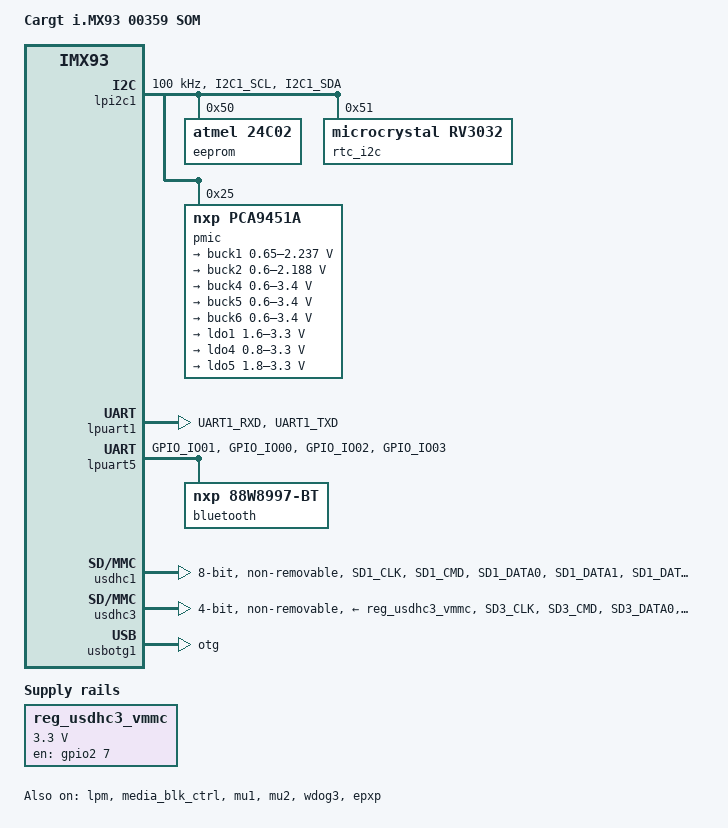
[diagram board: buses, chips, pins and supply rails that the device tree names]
// SPDX-License-Identifier: (GPL-2.0+ OR MIT)
/*
 * Copyright 2022 NXP
 */

 /dts-v1/;

#include <dt-bindings/usb/pd.h>
#include "imx93.dtsi"
 
&ele_fw2 {
	memory-region = <&ele_reserved>;
};

/ {
	model = "Cargt i.MX93 00359 SOM";
	compatible = "cargt,imx93-00359", "fsl,imx93";

	chosen {
		stdout-path = &lpuart1;
	};

	aliases {
		rtc0 = &rtc_i2c;
		rtc1 = &bbnsm_rtc;
	};

	reserved-memory {
		#address-cells = <2>;
		#size-cells = <2>;
		ranges;

		linux,cma {
			compatible = "shared-dma-pool";
			reusable;
			alloc-ranges = <0 0xb0000000 0 0x30000000>;
			size = <0 0xc000000>;
			linux,cma-default;
		};

		vdev0vring0: vdev0vring0@a4000000 {
			reg = <0 0xa4000000 0 0x8000>;
			no-map;
		};

		vdev0vring1: vdev0vring1@a4008000 {
			reg = <0 0xa4008000 0 0x8000>;
			no-map;
		};

		vdev1vring0: vdev1vring0@a4000000 {
			reg = <0 0xa4010000 0 0x8000>;
			no-map;
		};

		vdev1vring1: vdev1vring1@a4018000 {
			reg = <0 0xa4018000 0 0x8000>;
			no-map;
		};

		rsc_table: rsc-table@2021e000 {
			reg = <0 0x2021e000 0 0x1000>;
			no-map;
		};

		vdevbuffer: vdevbuffer@a4020000 {
			compatible = "shared-dma-pool";
			reg = <0 0xa4020000 0 0x100000>;
			no-map;
		};

		ele_reserved: ele-reserved@a4120000 {
			compatible = "shared-dma-pool";
			reg = <0 0xa4120000 0 0x100000>;
			no-map;
		};
	};

	reg_usdhc3_vmmc: regulator-usdhc3 {
		compatible = "regulator-fixed";
		pinctrl-names = "default";
		pinctrl-0 = <&pinctrl_reg_usdhc3_vmmc>;
		regulator-name = "WLAN_EN";
		regulator-min-microvolt = <3300000>;
		regulator-max-microvolt = <3300000>;
		gpio = <&gpio2 7 GPIO_ACTIVE_HIGH>;
		/*
		* IW612 wifi chip needs more delay than other wifi chips to complete
		* the host interface initialization after power up, otherwise the
		* internal state of IW612 may be unstable, resulting in the failure of
		* the SDIO3.0 switch voltage.
		*/
		startup-delay-us = <20000>;
		enable-active-high;
	};
};

&lpm {
	soc-supply = <&buck1>;
	status = "okay";
};

&lpi2c1 {
	#address-cells = <1>;
	#size-cells = <0>;
	clock-frequency = <100000>;
	pinctrl-names = "default", "sleep";
	pinctrl-0 = <&pinctrl_lpi2c1>;
	pinctrl-1 = <&pinctrl_lpi2c1>;
	status = "okay";

	/* eeprom on som */
	eeprom@50 {
		compatible = "atmel,24c02";
		reg = <0x50>;
		pagesize = <16>;		
	};

	/* rtc on som */
	rtc_i2c: rtc@51 {
		compatible = "microcrystal,rv3032";
		reg = <0x51>;
		trickle-resistor-ohms = <2000>;
		status = "okay";
	};

	pmic: pmic@25 {
		compatible = "nxp,pca9451a";
		reg = <0x25>;

		regulators {
			buck1: BUCK1 {
				regulator-name = "BUCK1";
				regulator-min-microvolt = <650000>;
				regulator-max-microvolt = <2237500>;
				regulator-boot-on;
				regulator-always-on;
				regulator-ramp-delay = <3125>;
			};

			buck2: BUCK2 {
				regulator-name = "BUCK2";
				regulator-min-microvolt = <600000>;
				regulator-max-microvolt = <2187500>;
				regulator-boot-on;
				regulator-always-on;
				regulator-ramp-delay = <3125>;
			};

			buck4: BUCK4{
				regulator-name = "BUCK4";
				regulator-min-microvolt = <600000>;
				regulator-max-microvolt = <3400000>;
				regulator-boot-on;
				regulator-always-on;
			};

			buck5: BUCK5{
				regulator-name = "BUCK5";
				regulator-min-microvolt = <600000>;
				regulator-max-microvolt = <3400000>;
				regulator-boot-on;
				regulator-always-on;
			};

			buck6: BUCK6 {
				regulator-name = "BUCK6";
				regulator-min-microvolt = <600000>;
				regulator-max-microvolt = <3400000>;
				regulator-boot-on;
				regulator-always-on;
			};

			ldo1: LDO1 {
				regulator-name = "LDO1";
				regulator-min-microvolt = <1600000>;
				regulator-max-microvolt = <3300000>;
				regulator-boot-on;
				regulator-always-on;
			};

			ldo4: LDO4 {
				regulator-name = "LDO4";
				regulator-min-microvolt = <800000>;
				regulator-max-microvolt = <3300000>;
				regulator-boot-on;
				regulator-always-on;
			};

			ldo5: LDO5 {
				regulator-name = "LDO5";
				regulator-min-microvolt = <1800000>;
				regulator-max-microvolt = <3300000>;
				regulator-boot-on;
				regulator-always-on;
			};
		};
	};
};


&lpuart1 { /* console */
	pinctrl-names = "default";
	pinctrl-0 = <&pinctrl_uart1>;
	status = "okay";
};

&lpuart5 { /* bluetooth */
	pinctrl-names = "default";
	pinctrl-0 = <&pinctrl_uart5>;
	uart-has-rtscts;
	status = "okay";

	bluetooth {
			compatible = "nxp,88w8997-bt";
		};
};

&media_blk_ctrl {
	status = "okay";
};

&mu1 {
	status = "okay";
};

&mu2 {
	status = "okay";
};
 
&usdhc1 {
	pinctrl-names = "default", "state_100mhz", "state_200mhz";
	pinctrl-0 = <&pinctrl_usdhc1>;
	pinctrl-1 = <&pinctrl_usdhc1>;
	pinctrl-2 = <&pinctrl_usdhc1>;
	bus-width = <8>;
	non-removable;
	status = "okay";
};

&usdhc3 {
	pinctrl-names = "default", "state_100mhz", "state_200mhz", "sleep";
	pinctrl-0 = <&pinctrl_usdhc3>;
	pinctrl-1 = <&pinctrl_usdhc3_100mhz>;
	pinctrl-2 = <&pinctrl_usdhc3_200mhz>;
	pinctrl-3 = <&pinctrl_usdhc3_sleep>;
	vmmc-supply = <&reg_usdhc3_vmmc>;
	bus-width = <4>;
	keep-power-in-suspend;
	non-removable;
	wakeup-source;
	status = "okay";
};

&usbotg1 {
	dr_mode = "otg";
	disable-over-current;
	samsung,picophy-pre-emp-curr-control = <3>;
	samsung,picophy-dc-vol-level-adjust = <7>;
	status = "okay";
};

&wdog3 {
	status = "okay";
};

&gpio1{
	gpio-line-names =
	"gpio1-0","gpio1-1","gpio1-2","gpio1-3", 		// 0-3
	"gpio1-4","gpio1-5","gpio1-6","gpio1-7", 		// 4-7
	"gpio1-8","gpio1-9","gpio1-10","gpio1-11",	 	// 8-11
	"gpio1-12","gpio1-13","gpio1-14","gpio1-15", 	// 12-15
	"gpio1-16","gpio1-17","gpio1-18","gpio1-19", 	// 16-19
	"gpio1-20","gpio1-21","gpio1-22","gpio1-23", 	// 20-23
	"gpio1-24","gpio1-25","gpio1-26","gpio1-27", 	// 24-27
	"gpio1-28","gpio1-29","gpio1-30","gpio1-31"; 	// 28-31
};

&gpio2{
	gpio-line-names =
	"gpio2-0","gpio2-1","gpio2-2","gpio2-3", 		// 0-3
	"gpio2-4","gpio2-5","gpio2-6","gpio2-7", 		// 4-7
	"gpio2-8","gpio2-9","gpio2-10","gpio2-11",	 	// 8-11
	"gpio2-12","gpio2-13","gpio2-14","gpio2-15", 	// 12-15
	"gpio2-16","gpio2-17","gpio2-18","gpio2-19", 	// 16-19
	"gpio2-20","gpio2-21","gpio2-22","gpio2-23", 	// 20-23
	"gpio2-24","gpio2-25","gpio2-26","gpio2-27", 	// 24-27
	"gpio2-28","gpio2-29","gpio2-30","gpio2-31"; 	// 28-31
};

&gpio3{
	gpio-line-names =
	"gpio3-0","gpio3-1","gpio3-2","gpio3-3", 		// 0-3
	"gpio3-4","gpio3-5","gpio3-6","gpio3-7", 		// 4-7
	"gpio3-8","gpio3-9","gpio3-10","gpio3-11",	 	// 8-11
	"gpio3-12","gpio3-13","gpio3-14","gpio3-15", 	// 12-15
	"gpio3-16","gpio3-17","gpio3-18","gpio3-19", 	// 16-19
	"gpio3-20","gpio3-21","gpio3-22","gpio3-23", 	// 20-23
	"gpio3-24","gpio3-25","gpio3-26","gpio3-27", 	// 24-27
	"gpio3-28","gpio3-29","gpio3-30","gpio3-31"; 	// 28-31
};


&gpio4{
	gpio-line-names =
	"gpio4-0","gpio4-1","gpio4-2","gpio4-3", 		// 0-3
	"gpio4-4","gpio4-5","gpio4-6","gpio4-7", 		// 4-7
	"gpio4-8","gpio4-9","gpio4-10","gpio4-11",	 	// 8-11
	"gpio4-12","gpio4-13","gpio4-14","gpio4-15", 	// 12-15
	"gpio4-16","gpio4-17","gpio4-18","gpio4-19", 	// 16-19
	"gpio4-20","gpio4-21","gpio4-22","gpio4-23", 	// 20-23
	"gpio4-24","gpio4-25","gpio4-26","gpio4-27", 	// 24-27
	"gpio4-28","gpio4-29","gpio4-30","gpio4-31"; 	// 28-31
};

&iomuxc {
 
	pinctrl_lpi2c1: lpi2c1grp {
		fsl,pins = <
			MX93_PAD_I2C1_SCL__LPI2C1_SCL			0x40000b9e
			MX93_PAD_I2C1_SDA__LPI2C1_SDA			0x40000b9e
		>;
	};
 
	 pinctrl_uart1: uart1grp {
		fsl,pins = <
			MX93_PAD_UART1_RXD__LPUART1_RX			0x31e
			MX93_PAD_UART1_TXD__LPUART1_TX			0x31e
		>;
	};

	pinctrl_usdhc1: usdhc1grp {
		 fsl,pins = <
			MX93_PAD_SD1_CLK__USDHC1_CLK			0x159e
			MX93_PAD_SD1_CMD__USDHC1_CMD			0x139e
			MX93_PAD_SD1_DATA0__USDHC1_DATA0		0x13fe
			MX93_PAD_SD1_DATA1__USDHC1_DATA1		0x13fe
			MX93_PAD_SD1_DATA2__USDHC1_DATA2		0x13fe
			MX93_PAD_SD1_DATA3__USDHC1_DATA3		0x13fe
			MX93_PAD_SD1_DATA4__USDHC1_DATA4		0x13fe
			MX93_PAD_SD1_DATA5__USDHC1_DATA5		0x13fe
			MX93_PAD_SD1_DATA6__USDHC1_DATA6		0x13fe
			MX93_PAD_SD1_DATA7__USDHC1_DATA7		0x13fe
			MX93_PAD_SD1_STROBE__USDHC1_STROBE		0x15fe
		>;
	};
  
	/* need to config the SION for data and cmd pad, refer to ERR052021 */
	pinctrl_usdhc3: usdhc3grp {
		fsl,pins = <
			MX93_PAD_SD3_CLK__USDHC3_CLK		0x1582
			MX93_PAD_SD3_CMD__USDHC3_CMD		0x40001382
			MX93_PAD_SD3_DATA0__USDHC3_DATA0	0x40001382
			MX93_PAD_SD3_DATA1__USDHC3_DATA1	0x40001382
			MX93_PAD_SD3_DATA2__USDHC3_DATA2	0x40001382
			MX93_PAD_SD3_DATA3__USDHC3_DATA3	0x40001382
		>;
	};

	/* need to config the SION for data and cmd pad, refer to ERR052021 */
	pinctrl_usdhc3_100mhz: usdhc3-100mhzgrp {
		fsl,pins = <
			MX93_PAD_SD3_CLK__USDHC3_CLK		0x158e
			MX93_PAD_SD3_CMD__USDHC3_CMD		0x4000138e
			MX93_PAD_SD3_DATA0__USDHC3_DATA0	0x4000138e
			MX93_PAD_SD3_DATA1__USDHC3_DATA1	0x4000138e
			MX93_PAD_SD3_DATA2__USDHC3_DATA2	0x4000138e
			MX93_PAD_SD3_DATA3__USDHC3_DATA3	0x4000138e
		>;
	};

	/* need to config the SION for data and cmd pad, refer to ERR052021 */
	pinctrl_usdhc3_200mhz: usdhc3-200mhzgrp {
		fsl,pins = <
			MX93_PAD_SD3_CLK__USDHC3_CLK		0x159e
			MX93_PAD_SD3_CMD__USDHC3_CMD		0x4000139e
			MX93_PAD_SD3_DATA0__USDHC3_DATA0	0x400013fe
			MX93_PAD_SD3_DATA1__USDHC3_DATA1	0x400013fe
			MX93_PAD_SD3_DATA2__USDHC3_DATA2	0x400013fe
			MX93_PAD_SD3_DATA3__USDHC3_DATA3	0x400013fe
		>;
	};

	pinctrl_usdhc3_sleep: usdhc3grpsleep {
		fsl,pins = <
			MX93_PAD_SD3_CLK__GPIO3_IO20		0x31e
			MX93_PAD_SD3_CMD__GPIO3_IO21		0x31e
			MX93_PAD_SD3_DATA0__GPIO3_IO22		0x31e
			MX93_PAD_SD3_DATA1__GPIO3_IO23		0x31e
			MX93_PAD_SD3_DATA2__GPIO3_IO24		0x31e
			MX93_PAD_SD3_DATA3__GPIO3_IO25		0x31e
		>;
	};

	pinctrl_rtc: rtcgrp {
		 fsl,pins = <
		 	MX93_PAD_UART2_RXD__GPIO1_IO06			0x31e
		 >;
	 };

	pinctrl_reg_usdhc3_vmmc: regusdhc3vmmcgrp {
		fsl,pins = <
			MX93_PAD_GPIO_IO07__GPIO2_IO07			0x31e /* 2EL_PWRON */
		>;
	};
 
	pinctrl_uart5: uart5grp {
		fsl,pins = <
			MX93_PAD_GPIO_IO01__LPUART5_RX			0x31e
			MX93_PAD_GPIO_IO00__LPUART5_TX			0x31e
			MX93_PAD_GPIO_IO02__LPUART5_CTS_B		0x31e
			MX93_PAD_GPIO_IO03__LPUART5_RTS_B       0x31e
		>;
	};
};

&epxp {
	status = "okay";
};
 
